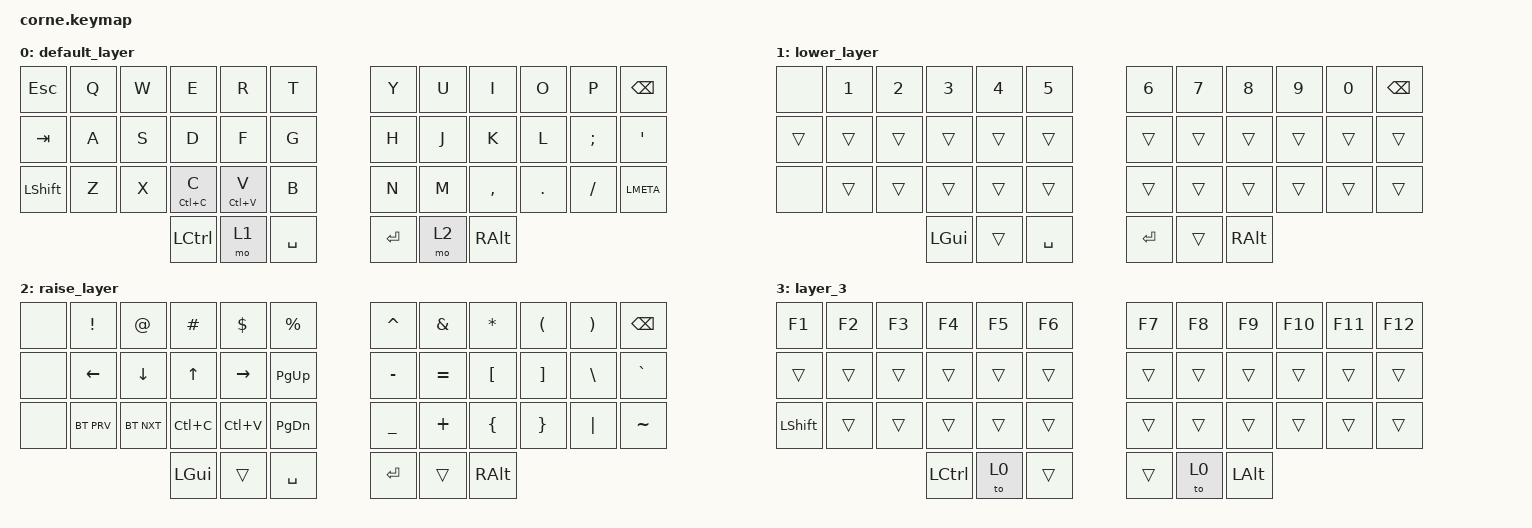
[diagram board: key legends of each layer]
/*
 * Copyright (c) 2020 The ZMK Contributors
 *
 * SPDX-License-Identifier: MIT
 */

#include <behaviors.dtsi>
#include <dt-bindings/zmk/bt.h>
#include <dt-bindings/zmk/keys.h>

&mt {
    flavor = "balanced";
    require-prior-idle-ms = <150>;
    tapping-term-ms = <280>;
    hold-trigger-on-release;
    quick-tap-ms = <175>;
};

/ {
    combos {
        compatible = "zmk,combos";

        ctrlaltdlt {
            bindings = <&kp LC(LA(DEL))>;
            key-positions = <36 41>;
        };

        Snipping {
            bindings = <&mt LG(LS(S)) LS(S)>;
            key-positions = <24 13>;
        };

        to_layer_3 {
            bindings = <&mo 3>;
            key-positions = <37 40>;
        };
    };

    keymap {
        compatible = "zmk,keymap";

        default_layer {
            // -----------------------------------------------------------------------------------------
            // | ESC  |  Q  |  W  |  E  |  R  |  T  |   |  Y  |  U   |  I  |  O  |  P  | BKSP |
            // | TAB  |  A  |  S  |  D  |  F  |  G  |   |  H  |  J   |  K  |  L  |  ;  |  '   |
            // | SHFT |  Z  |  X  |  C  |  V  |  B  |   |  N  |  M   |  ,  |  .  |  /  |      |
            //                    | CTL | LWR | SPC |   | ENT | RSE  | ALT |

            bindings = <
&kp ESCAPE      &kp Q  &kp W  &kp E        &kp R        &kp T        &kp Y    &kp U  &kp I      &kp O    &kp P     &kp BSPC
&kp TAB         &kp A  &kp S  &kp D        &kp F        &kp G        &kp H    &kp J  &kp K      &kp L    &kp SEMI  &kp SQT
&kp LEFT_SHIFT  &kp Z  &kp X  &mt LC(C) C  &mt LC(V) V  &kp B        &kp N    &kp M  &kp COMMA  &kp DOT  &kp FSLH  &kp LMETA
                              &kp LCTRL    &mo 1        &kp SPACE    &kp RET  &mo 2  &kp RALT
            >;
        };

        lower_layer {
            // -----------------------------------------------------------------------------------------
            // |  TAB |  1  |  2  |  3  |  4  |  5  |   |  6  |  7  |  8  |  9  |  0  | BKSP |
            // |      | LFT | DWN | UP  | RGT | PGU |   |     |     |     |     |     |      |
            // | SHFT | BTP | BTN | CPY | PST | PGD |   |     |     |     |     |     |      |
            //                    | GUI |     | SPC |   | ENT |     | ALT |

            bindings = <
&none   &kp N1  &kp N2  &kp N3    &kp N4  &kp N5       &kp N6   &kp N7  &kp N8    &kp N9  &kp N0  &kp BSPC
&trans  &trans  &trans  &trans    &trans  &trans       &trans   &trans  &trans    &trans  &trans  &trans
&none   &trans  &trans  &trans    &trans  &trans       &trans   &trans  &trans    &trans  &trans  &trans
                        &kp LGUI  &trans  &kp SPACE    &kp RET  &trans  &kp RALT
            >;
        };

        raise_layer {
            // -----------------------------------------------------------------------------------------
            // |  TAB |  !  |  @  |  #  |  $  |  %  |   |  ^  |  &  |  *  |  (  |  )  | BKSP |
            // | CTRL |     |     |     |     |     |   |  -  |  =  |  [  |  ]  |  \  |  `   |
            // | SHFT |     |     |     |     |     |   |  _  |  +  |  {  |  }  | "|" |  ~   |
            //                    | GUI |     | SPC |   | ENT |     | ALT |

            bindings = <
&none  &kp EXCL    &kp AT      &kp HASH   &kp DLLR   &kp PRCNT        &kp CARET  &kp AMPS   &kp ASTRK  &kp LPAR  &kp RPAR  &kp BSPC
&none  &kp LEFT    &kp DOWN    &kp UP     &kp RIGHT  &kp PAGE_UP      &kp MINUS  &kp EQUAL  &kp LBKT   &kp RBKT  &kp BSLH  &kp GRAVE
&none  &bt BT_PRV  &bt BT_NXT  &kp LC(C)  &kp LC(V)  &kp PAGE_DOWN    &kp UNDER  &kp PLUS   &kp LBRC   &kp RBRC  &kp PIPE  &kp TILDE
                               &kp LGUI   &trans     &kp SPACE        &kp RET    &trans     &kp RALT
            >;
        };

        layer_3 {
            bindings = <
&kp F1          &kp F2  &kp F3  &kp F4     &kp F5  &kp F6    &kp F7  &kp F8  &kp F9        &kp F10  &kp F11  &kp F12
&trans          &trans  &trans  &trans     &trans  &trans    &trans  &trans  &trans        &trans   &trans   &trans
&kp LEFT_SHIFT  &trans  &trans  &trans     &trans  &trans    &trans  &trans  &trans        &trans   &trans   &trans
                                &kp LCTRL  &to 0   &trans    &trans  &to 0   &kp LEFT_ALT
            >;
        };
    };
};
